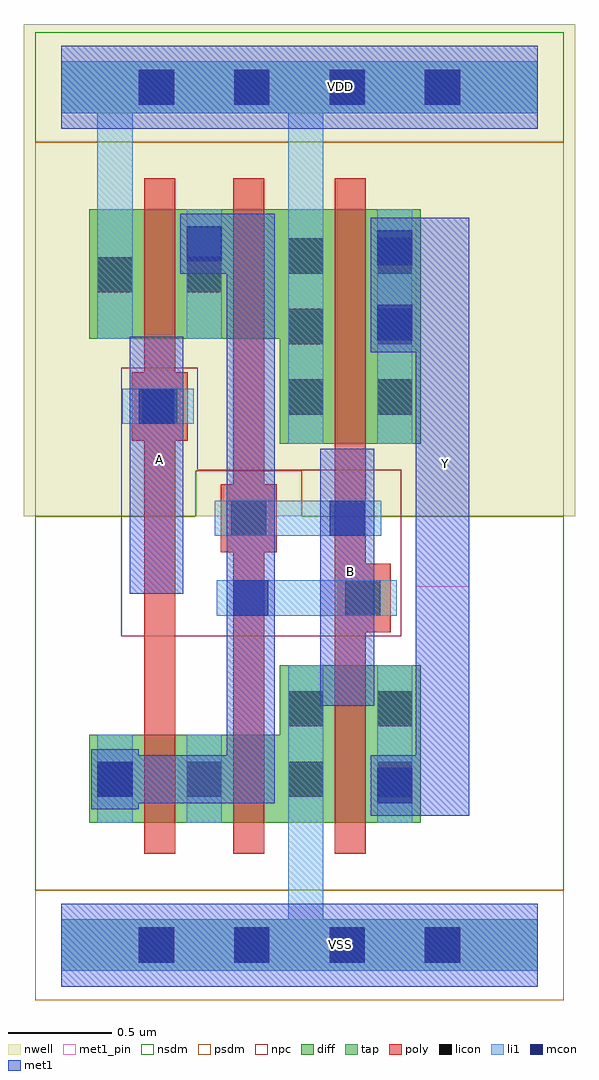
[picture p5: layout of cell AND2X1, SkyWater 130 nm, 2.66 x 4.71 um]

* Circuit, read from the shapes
.subckt AND2X1 A B VDD VSS Y
XM1 n1 A n2 VSS sky130_fd_pr__nfet_01v8 w=0.425 l=0.15
XM2 VSS B n1 VSS sky130_fd_pr__nfet_01v8 w=0.425 l=0.15
XM3 Y n2 VSS VSS sky130_fd_pr__nfet_01v8 w=0.76 l=0.15
XM4 n2 A VDD VDD sky130_fd_pr__pfet_01v8 w=0.625 l=0.15
XM5 VDD B n2 VDD sky130_fd_pr__pfet_01v8 w=0.625 l=0.15
XM6 Y n2 VDD VDD sky130_fd_pr__pfet_01v8 w=1.13 l=0.15
.ends

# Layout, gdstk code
from math import pi, radians
import gdstk
lib = gdstk.Library(unit=1e-6, precision=1e-09)
def R(c, l, rs):  # rectangles x0, y0, x1, y1
    for r in rs: c.add(gdstk.rectangle(r[:2], r[2:], *l))
def A(c, l, x, y, w, h, nx, ny, dx, dy):  # array of equal rectangles
    R(c, l, [(x+i*dx, y+j*dy, x+i*dx+w, y+j*dy+h) for i in range(nx) for j in range(ny)])
def P(c, l, *ps):  # polygons
    for p in ps: c.add(gdstk.Polygon(p, *l))
nwell = (64, 20)
diff = (65, 20)
tap = (65, 44)
poly = (66, 20)
licon = (66, 44)
li1 = (67, 20)
mcon = (67, 44)
met1_pin = (68, 16)
met1 = (68, 20)
nsdm = (93, 44)
psdm = (94, 20)
npc = (95, 20)

pfet_01v8_cdns_716492285 = lib.new_cell('pfet_01v8_CDNS_7164922852231')
R(pfet_01v8_cdns_716492285, nwell, [(-0.255,-0.18,0.385,0.805)])
R(pfet_01v8_cdns_716492285, diff, [(-0.075,0,0,0.625), (0,0,0.15,0.625), (0.15,0,0.205,0.625)])
R(pfet_01v8_cdns_716492285, poly, [(0,-0.15,0.15,-0.095), (0,-0.095,0.15,0), (0,0,0.15,0.625), (0,0.625,0.15,0.72), (0,0.72,0.15,0.775)])
R(pfet_01v8_cdns_716492285, psdm, [(0.045,-0.13,0.215,0.755)])

nfet_01v8_cdns_716492285 = lib.new_cell('nfet_01v8_CDNS_7164922852225')
R(nfet_01v8_cdns_716492285, diff, [(-0.075,0,0,0.425), (0,0,0.15,0.425), (0.15,0,0.205,0.425)])
R(nfet_01v8_cdns_716492285, poly, [(0,-0.15,0.15,-0.095), (0,-0.095,0.15,0), (0,0,0.15,0.425), (0,0.425,0.15,0.52), (0,0.52,0.15,0.575)])
R(nfet_01v8_cdns_716492285, nsdm, [(0.045,-0.13,0.215,0.555)])

c_pfet_01v8_cdns_716492285 = lib.new_cell('pfet_01v8_CDNS_7164922852210')
R(c_pfet_01v8_cdns_716492285, nwell, [(-0.445,-0.18,0.555,0.805)])
R(c_pfet_01v8_cdns_716492285, diff, [(-0.265,0,0,0.625), (0,0,0.15,0.625), (0.15,0,0.375,0.625)])
R(c_pfet_01v8_cdns_716492285, poly, [(0,-0.15,0.15,-0.095), (0,-0.095,0.15,0), (0,0,0.15,0.625), (0,0.625,0.15,0.72), (0,0.72,0.15,0.775)])
R(c_pfet_01v8_cdns_716492285, licon, [(-0.225,0.225,-0.055,0.395), (0.205,0.225,0.375,0.395)])
R(c_pfet_01v8_cdns_716492285, li1, [(-0.225,0,-0.055,0.625), (0.205,0,0.375,0.625)])
R(c_pfet_01v8_cdns_716492285, psdm, [(-0.405,-0.13,0.385,0.755)])

c_pfet_01v8_cdns_716492285_ = lib.new_cell('pfet_01v8_CDNS_7164922852238')
R(c_pfet_01v8_cdns_716492285_, nwell, [(-0.445,-0.18,0.595,1.31)])
R(c_pfet_01v8_cdns_716492285_, diff, [(-0.265,0,0,1.13), (0,0,0.15,1.13), (0.15,0,0.415,1.13)])
R(c_pfet_01v8_cdns_716492285_, poly, [(0,-0.15,0.15,-0.095), (0,-0.095,0.15,0), (0,0,0.15,1.13), (0,1.13,0.15,1.225), (0,1.225,0.15,1.28)])
A(c_pfet_01v8_cdns_716492285_, licon, -0.225, 0.14, 0.17, 0.17, 1, 3, 0, 0.34)
A(c_pfet_01v8_cdns_716492285_, licon, 0.205, 0.14, 0.17, 0.17, 1, 3, 0, 0.34)
R(c_pfet_01v8_cdns_716492285_, li1, [(-0.225,0,-0.055,1.13), (0.205,0,0.375,1.13)])
R(c_pfet_01v8_cdns_716492285_, psdm, [(-0.405,-0.13,0.555,1.26)])

c_nfet_01v8_cdns_716492285 = lib.new_cell('nfet_01v8_CDNS_7164922852234')
R(c_nfet_01v8_cdns_716492285, diff, [(-0.265,0,0,0.76), (0,0,0.15,0.76), (0.15,0,0.415,0.76)])
R(c_nfet_01v8_cdns_716492285, poly, [(0,-0.15,0.15,-0.095), (0,-0.095,0.15,0), (0,0,0.15,0.76), (0,0.76,0.15,0.855), (0,0.855,0.15,0.91)])
R(c_nfet_01v8_cdns_716492285, licon, [(-0.225,0.125,-0.055,0.295), (0.205,0.125,0.375,0.295), (-0.225,0.465,-0.055,0.635), (0.205,0.465,0.375,0.635)])
R(c_nfet_01v8_cdns_716492285, li1, [(-0.225,0,-0.055,0.76), (0.205,0,0.375,0.76)])
R(c_nfet_01v8_cdns_716492285, nsdm, [(-0.405,-0.13,0.555,0.89)])

c_nfet_01v8_cdns_716492285_ = lib.new_cell('nfet_01v8_CDNS_71649228522101')
R(c_nfet_01v8_cdns_716492285_, diff, [(-0.225,0,0,0.425), (0,0,0.15,0.425), (0.15,0,0.415,0.425)])
R(c_nfet_01v8_cdns_716492285_, poly, [(0,-0.15,0.15,-0.095), (0,-0.095,0.15,0), (0,0,0.15,0.425), (0,0.425,0.15,0.52), (0,0.52,0.15,0.575)])
R(c_nfet_01v8_cdns_716492285_, licon, [(0.205,0.125,0.375,0.295)])
R(c_nfet_01v8_cdns_716492285_, li1, [(0.205,0,0.375,0.425)])
R(c_nfet_01v8_cdns_716492285_, nsdm, [(-0.235,-0.13,0.555,0.555)])

l1m1_c_cdns_716492285225 = lib.new_cell('L1M1_C_CDNS_716492285225')
R(l1m1_c_cdns_716492285225, li1, [(-0.085,-0.345,0.085,0.345)])
R(l1m1_c_cdns_716492285225, mcon, [(-0.085,-0.265,0.085,-0.095), (-0.085,0.095,0.085,0.265)])
R(l1m1_c_cdns_716492285225, met1, [(-0.115,-0.325,0.115,0.325)])

pyl1con_c_cdns_716492285 = lib.new_cell('PYL1CON_C_CDNS_716492285220')
R(pyl1con_c_cdns_716492285, poly, [(-0.135,-0.165,0.135,0.165)])
R(pyl1con_c_cdns_716492285, licon, [(-0.085,-0.085,0.085,0.085)])
R(pyl1con_c_cdns_716492285, npc, [(-0.185,-0.185,0.185,0.185)])

lilicon_c_cdns_716492285 = lib.new_cell('LILICON_C_CDNS_7164922852225')
R(lilicon_c_cdns_716492285, licon, [(-0.085,-0.085,0.085,0.085), (-0.085,-0.085,0.085,0.085)])
R(lilicon_c_cdns_716492285, li1, [(-0.085,-0.165,0.085,0.165)])

l1m1_c_cdns_716492285223 = lib.new_cell('L1M1_C_CDNS_716492285223')
R(l1m1_c_cdns_716492285223, li1, [(-0.165,-0.085,0.165,0.085)])
R(l1m1_c_cdns_716492285223, mcon, [(-0.085,-0.085,0.085,0.085)])
R(l1m1_c_cdns_716492285223, met1, [(-0.115,-0.145,0.115,0.145)])

l1m1_c_cdns_716492285222 = lib.new_cell('L1M1_C_CDNS_716492285222')
R(l1m1_c_cdns_716492285222, li1, [(-0.085,-0.165,0.085,0.165)])
R(l1m1_c_cdns_716492285222, mcon, [(-0.085,-0.085,0.085,0.085)])
R(l1m1_c_cdns_716492285222, met1, [(-0.115,-0.145,0.115,0.145)])

licondiff_c_cdns_7164922 = lib.new_cell('LICONDIFF_C_CDNS_7164922852213')
R(licondiff_c_cdns_7164922, diff, [(-0.125,-0.145,0.125,0.145)])
R(licondiff_c_cdns_7164922, licon, [(-0.085,-0.085,0.085,0.085), (-0.085,-0.085,0.085,0.085)])

and2x1 = lib.new_cell('AND2X1')
R(and2x1, nwell, [(-0.18,2.07,2.48,3.995), (-0.18,3.875,2.48,4.445)])
A(and2x1, licon, 0.375, -0.085, 0.17, 0.17, 4, 2, 0.46, 4.14)
A(and2x1, mcon, 0.375, -0.085, 0.17, 0.17, 4, 2, 0.46, 4.14)
R(and2x1, met1_pin, [(1.25,1.155,1.51,2.395), (0.33,1.695,0.59,2.935), (1.71,1.73,1.97,3.51)])
R(and2x1, nsdm, [(-0.125,3.875,2.425,4.405), (-0.125,3.93,2.425,4.35)])
P(and2x1, nsdm, [(2.425,2.07),(1.16,2.07),(1.16,2.29),(0.65,2.29),(0.65,2.07),(-0.125,2.07),(-0.125,0.265),(2.425,0.265)])
R(and2x1, psdm, [(-0.125,-0.265,2.425,0.265), (-0.125,-0.21,2.425,0.21)])
P(and2x1, psdm, [(2.425,3.875),(-0.125,3.875),(-0.125,2.07),(0.65,2.07),(0.65,2.29),(1.16,2.29),(1.16,2.07),(2.425,2.07)])
P(and2x1, npc, [(1.64,2.295),(0.66,2.295),(0.66,2.785),(0.29,2.785),(0.29,1.49),(1.64,1.49)])
and2x1.add(gdstk.FlexPath([(0.475,2.775),(0.475,1.165)], 0.15, ends="flush", simple_path=True, layer=66, datatype=20))  # poly
and2x1.add(gdstk.FlexPath([(0.905,2.775),(0.905,1.165)], 0.15, ends="flush", simple_path=True, layer=66, datatype=20))  # poly
and2x1.add(gdstk.FlexPath([(1.395,2.27),(1.395,1.5)], 0.15, ends="flush", simple_path=True, layer=66, datatype=20))  # poly
and2x1.add(gdstk.FlexPath([(0.295,2.6),(0.64,2.6)], 0.17, ends="flush", simple_path=True, layer=67, datatype=20))  # li1
and2x1.add(gdstk.FlexPath([(1.38,2.06),(0.96,2.06)], 0.17, ends="flush", simple_path=True, layer=67, datatype=20))  # li1
and2x1.add(gdstk.FlexPath([(0.915,1.675),(1.455,1.675)], 0.17, ends="flush", simple_path=True, layer=67, datatype=20))  # li1
and2x1.add(gdstk.FlexPath([(0.74,2.06),(0.99,2.06)], 0.17, ends="flush", simple_path=True, layer=67, datatype=20))  # li1
and2x1.add(gdstk.FlexPath([(0.69,0.59),(0.69,1.015)], 0.17, ends="flush", simple_path=True, layer=67, datatype=20))  # li1
and2x1.add(gdstk.FlexPath([(0.26,3.55),(0.26,4.14)], 0.17, ends=(0, 0.125), simple_path=True, layer=67, datatype=20))  # li1
and2x1.add(gdstk.FlexPath([(1.18,4.14),(2.3,4.14)], 0.25, ends=(0.085, 0), simple_path=True, layer=67, datatype=20))  # li1
and2x1.add(gdstk.FlexPath([(1.18,0.59),(1.18,0)], 0.17, ends=(0, 0.125), simple_path=True, layer=67, datatype=20))  # li1
and2x1.add(gdstk.FlexPath([(1.18,0),(2.3,0)], 0.25, ends=(0.085, 0), simple_path=True, layer=67, datatype=20))  # li1
and2x1.add(gdstk.FlexPath([(0.26,4.14),(1.18,4.14)], 0.25, ends=(0.085, 0.085), simple_path=True, layer=67, datatype=20))  # li1
and2x1.add(gdstk.FlexPath([(1.18,3.55),(1.18,4.14)], 0.17, ends=(0, 0.125), simple_path=True, layer=67, datatype=20))  # li1
and2x1.add(gdstk.FlexPath([(0,4.14),(0.26,4.14)], 0.25, ends=(0, 0.085), simple_path=True, layer=67, datatype=20))  # li1
and2x1.add(gdstk.FlexPath([(0,0),(1.18,0)], 0.25, ends=(0, 0.085), simple_path=True, layer=67, datatype=20))  # li1
and2x1.add(gdstk.FlexPath([(0,4.14),(2.3,4.14)], 0.4, ends="flush", simple_path=True, layer=68, datatype=16))  # met1_pin
and2x1.add(gdstk.FlexPath([(0,0),(2.3,0)], 0.4, ends="flush", simple_path=True, layer=68, datatype=16))  # met1_pin
and2x1.add(gdstk.FlexPath([(0,0),(2.3,0)], 0.25, ends="flush", simple_path=True, layer=65, datatype=44))  # tap
and2x1.add(gdstk.FlexPath([(0,4.14),(2.3,4.14)], 0.25, ends="flush", simple_path=True, layer=65, datatype=44))  # tap
and2x1.add(gdstk.FlexPath([(0.915,3.345),(0.915,1.705)], 0.23, ends="extended", simple_path=True, layer=68, datatype=20))  # met1
and2x1.add(gdstk.FlexPath([(1.84,3.38),(1.495,3.38)], 0.26, ends=(0.13, 0), simple_path=True, layer=68, datatype=20))  # met1
and2x1.add(gdstk.FlexPath([(0.915,0.8),(0.26,0.8)], 0.23, ends=(0.115, 0), simple_path=True, layer=68, datatype=20))  # met1
and2x1.add(gdstk.FlexPath([(1.38,2.395),(1.38,1.155)], 0.26, ends="flush", simple_path=True, layer=68, datatype=20))  # met1
and2x1.add(gdstk.FlexPath([(1.695,0.755),(1.84,0.755)], 0.26, ends=(0, 0.13), simple_path=True, layer=68, datatype=20))  # met1
and2x1.add(gdstk.FlexPath([(0.69,3.415),(0.915,3.415)], 0.23, ends="extended", simple_path=True, layer=68, datatype=20))  # met1
and2x1.add(gdstk.FlexPath([(0.46,2.935),(0.46,1.695)], 0.26, ends="flush", simple_path=True, layer=68, datatype=20))  # met1
and2x1.add(gdstk.FlexPath([(0.69,3.385),(0.725,3.385)], 0.29, ends=(0, 0.115), simple_path=True, layer=68, datatype=20))  # met1
and2x1.add(gdstk.FlexPath([(1.84,0.755),(1.84,3.38)], 0.26, ends="extended", simple_path=True, layer=68, datatype=20))  # met1
and2x1.add(gdstk.FlexPath([(0.725,3.385),(0.725,3.305)], 0.23, ends=(0.145, 0), simple_path=True, layer=68, datatype=20))  # met1
and2x1.add(gdstk.FlexPath([(0.915,1.675),(0.915,0.8)], 0.23, ends=(0, 0.115), simple_path=True, layer=68, datatype=20))  # met1
and2x1.add(gdstk.FlexPath([(0,0),(2.3,0)], 0.4, ends="flush", simple_path=True, layer=68, datatype=20))  # met1
and2x1.add(gdstk.FlexPath([(0,4.14),(2.3,4.14)], 0.4, ends="flush", simple_path=True, layer=68, datatype=20))  # met1
and2x1.add(gdstk.Reference(pfet_01v8_cdns_716492285, (0.98,2.925), rotation=pi, x_reflection=True))
and2x1.add(gdstk.Reference(nfet_01v8_cdns_716492285, (0.98,0.59), rotation=pi, x_reflection=True))
and2x1.add(gdstk.Reference(c_pfet_01v8_cdns_716492285, (0.4,2.925)))
and2x1.add(gdstk.Reference(c_pfet_01v8_cdns_716492285_, (1.32,2.42)))
and2x1.add(gdstk.Reference(c_nfet_01v8_cdns_716492285, (1.32,0.59)))
and2x1.add(gdstk.Reference(c_nfet_01v8_cdns_716492285_, (0.55,0.59), rotation=pi, x_reflection=True))
and2x1.add(gdstk.Reference(l1m1_c_cdns_716492285225, (1.61,3.185)))
and2x1.add(gdstk.Reference(pyl1con_c_cdns_716492285, (1.455,1.675)))
and2x1.add(gdstk.Reference(pyl1con_c_cdns_716492285, (0.905,2.06), rotation=pi, x_reflection=True))
and2x1.add(gdstk.Reference(pyl1con_c_cdns_716492285, (0.475,2.6), rotation=pi, x_reflection=True))
and2x1.add(gdstk.Reference(lilicon_c_cdns_716492285, (1.455,1.675), rotation=pi/2))
and2x1.add(gdstk.Reference(l1m1_c_cdns_716492285223, (0.915,1.675), rotation=pi, x_reflection=True))
and2x1.add(gdstk.Reference(l1m1_c_cdns_716492285223, (0.46,2.6)))
and2x1.add(gdstk.Reference(l1m1_c_cdns_716492285223, (1.38,2.06)))
and2x1.add(gdstk.Reference(l1m1_c_cdns_716492285222, (1.61,0.77)))
and2x1.add(gdstk.Reference(l1m1_c_cdns_716492285222, (0.26,0.8)))
and2x1.add(gdstk.Reference(l1m1_c_cdns_716492285222, (0.69,3.385)))
and2x1.add(gdstk.Reference(licondiff_c_cdns_7164922, (0.69,0.8)))
and2x1.add(gdstk.Label('VSS', (1.35,0.005), layer=68, texttype=5))
and2x1.add(gdstk.Label('B', (1.395,1.805), layer=68, texttype=5))
and2x1.add(gdstk.Label('VDD', (1.35,4.145), layer=68, texttype=5))
and2x1.add(gdstk.Label('Y', (1.855,2.325), layer=68, texttype=5))
and2x1.add(gdstk.Label('A', (0.475,2.345), layer=68, texttype=5))

lib.write_gds('AND2X1.gds')
